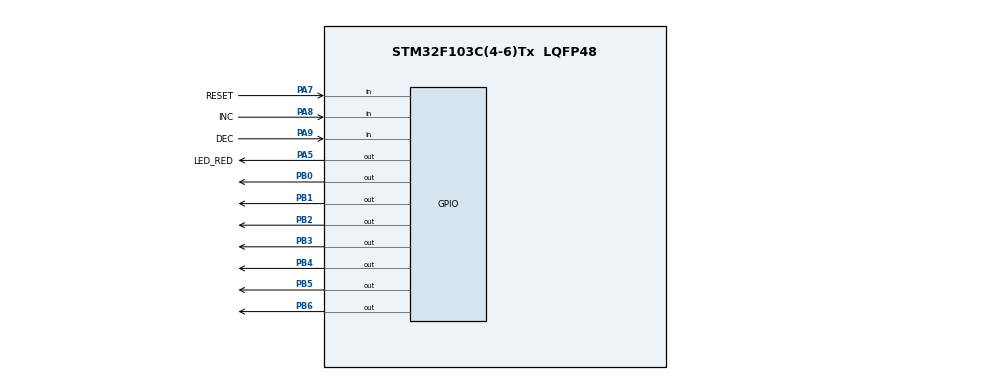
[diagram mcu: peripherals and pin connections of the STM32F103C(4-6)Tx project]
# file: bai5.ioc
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Mcu.Family=STM32F1
Mcu.Name=STM32F103C(4-6)Tx
Mcu.Package=LQFP48
NVIC.PriorityGroup=NVIC_PRIORITYGROUP_4
NVIC.TIM2_IRQn=true\:0\:0\:false\:false\:true\:true\:true\:true
PA5.GPIO_Label=LED_RED
PA5.Signal=GPIO_Output
PA7.GPIO_Label=RESET
PA7.GPIO_PuPd=GPIO_PULLUP
PA7.Signal=GPIO_Input
PA8.GPIO_Label=INC
PA8.GPIO_PuPd=GPIO_PULLUP
PA8.Signal=GPIO_Input
PA9.GPIO_Label=DEC
PA9.GPIO_PuPd=GPIO_PULLUP
PA9.Signal=GPIO_Input
PB0.Signal=GPIO_Output
PB1.Signal=GPIO_Output
PB2.Signal=GPIO_Output
PB3.Signal=GPIO_Output
PB4.Signal=GPIO_Output
PB5.Signal=GPIO_Output
PB6.Signal=GPIO_Output
ProjectManager.HeapSize=0x200
ProjectManager.StackSize=0x400
ProjectManager.TargetToolchain=STM32CubeIDE
RCC.APB1Freq_Value=8000000
RCC.APB2Freq_Value=8000000
TIM2.Period=9
TIM2.Prescaler=7999
VP_TIM2_VS_ClockSourceINT.Mode=Internal
board=custom

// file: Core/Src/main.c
/* USER CODE BEGIN Header */
/**
  ******************************************************************************
  * @file           : main.c
  * @brief          : Main program body
  ******************************************************************************
  * @attention
  *
  * Copyright (c) 2022 STMicroelectronics.
  * All rights reserved.
  *
  * This software is licensed under terms that can be found in the LICENSE file
  * in the root directory of this software component.
  * If no LICENSE file comes with this software, it is provided AS-IS.
  *
  ******************************************************************************
  */
/* USER CODE END Header */
#include "main.h"

/* USER CODE BEGIN Includes */
#include "seven_seg.h"
#include "software_timer.h"
#include "button.h"
#include "fsm_button.h"
/* USER CODE END Includes */

TIM_HandleTypeDef htim2;

void SystemClock_Config(void);
static void MX_GPIO_Init(void);
static void MX_TIM2_Init(void);

int main(void)
{

  /* MCU Configuration--------------------------------------------------------*/

  /* Reset of all peripherals, Initializes the Flash interface and the Systick. */
  HAL_Init();

  /* Configure the system clock */
  SystemClock_Config();

  /* Initialize all configured peripherals */
  MX_GPIO_Init();
  MX_TIM2_Init();
  /* USER CODE BEGIN 2 */
  HAL_TIM_Base_Start_IT(&htim2);
  /* USER CODE END 2 */

  /* Infinite loop */
  /* USER CODE BEGIN WHILE */
  set_timer1(100);
  while (1)
  {
//	  if (timer0_flag == 1) {
//		  HAL_GPIO_TogglePin(GPIOA, LED_RED_Pin);
//		  set_timer0(100);
//	  }
	  fsm_simple_buttons_run();
	  if (timer1_flag == 1) {
		  HAL_GPIO_TogglePin(LED_RED_GPIO_Port, LED_RED_Pin);
		  set_timer1(100);
	  }
    /* USER CODE END WHILE */

  }
}

void SystemClock_Config(void)
{
  RCC_OscInitTypeDef RCC_OscInitStruct = {0};
  RCC_ClkInitTypeDef RCC_ClkInitStruct = {0};

  /** Initializes the RCC Oscillators according to the specified parameters
  * in the RCC_OscInitTypeDef structure.
  */
  RCC_OscInitStruct.OscillatorType = RCC_OSCILLATORTYPE_HSI;
  RCC_OscInitStruct.HSIState = RCC_HSI_ON;
  RCC_OscInitStruct.HSICalibrationValue = RCC_HSICALIBRATION_DEFAULT;
  RCC_OscInitStruct.PLL.PLLState = RCC_PLL_NONE;
  if (HAL_RCC_OscConfig(&RCC_OscInitStruct) != HAL_OK)
  {
    Error_Handler();
  }

  /** Initializes the CPU, AHB and APB buses clocks
  */
  RCC_ClkInitStruct.ClockType = RCC_CLOCKTYPE_HCLK|RCC_CLOCKTYPE_SYSCLK
                              |RCC_CLOCKTYPE_PCLK1|RCC_CLOCKTYPE_PCLK2;
  RCC_ClkInitStruct.SYSCLKSource = RCC_SYSCLKSOURCE_HSI;
  RCC_ClkInitStruct.AHBCLKDivider = RCC_SYSCLK_DIV1;
  RCC_ClkInitStruct.APB1CLKDivider = RCC_HCLK_DIV1;
  RCC_ClkInitStruct.APB2CLKDivider = RCC_HCLK_DIV1;

  if (HAL_RCC_ClockConfig(&RCC_ClkInitStruct, FLASH_LATENCY_0) != HAL_OK)
  {
    Error_Handler();
  }
}

static void MX_TIM2_Init(void)
{

  TIM_ClockConfigTypeDef sClockSourceConfig = {0};
  TIM_MasterConfigTypeDef sMasterConfig = {0};

  htim2.Instance = TIM2;
  htim2.Init.Prescaler = 7999;
  htim2.Init.CounterMode = TIM_COUNTERMODE_UP;
  htim2.Init.Period = 9;
  htim2.Init.ClockDivision = TIM_CLOCKDIVISION_DIV1;
  htim2.Init.AutoReloadPreload = TIM_AUTORELOAD_PRELOAD_DISABLE;
  if (HAL_TIM_Base_Init(&htim2) != HAL_OK)
  {
    Error_Handler();
  }
  sClockSourceConfig.ClockSource = TIM_CLOCKSOURCE_INTERNAL;
  if (HAL_TIM_ConfigClockSource(&htim2, &sClockSourceConfig) != HAL_OK)
  {
    Error_Handler();
  }
  sMasterConfig.MasterOutputTrigger = TIM_TRGO_RESET;
  sMasterConfig.MasterSlaveMode = TIM_MASTERSLAVEMODE_DISABLE;
  if (HAL_TIMEx_MasterConfigSynchronization(&htim2, &sMasterConfig) != HAL_OK)
  {
    Error_Handler();
  }

}

static void MX_GPIO_Init(void)
{
  GPIO_InitTypeDef GPIO_InitStruct = {0};

  /* GPIO Ports Clock Enable */
  __HAL_RCC_GPIOA_CLK_ENABLE();
  __HAL_RCC_GPIOB_CLK_ENABLE();

  /*Configure GPIO pin Output Level */
  HAL_GPIO_WritePin(LED_RED_GPIO_Port, LED_RED_Pin, GPIO_PIN_RESET);

  /*Configure GPIO pin Output Level */
  HAL_GPIO_WritePin(GPIOB, GPIO_PIN_0|GPIO_PIN_1|GPIO_PIN_2|GPIO_PIN_3
                          |GPIO_PIN_4|GPIO_PIN_5|GPIO_PIN_6, GPIO_PIN_RESET);

  /*Configure GPIO pin : LED_RED_Pin */
  GPIO_InitStruct.Pin = LED_RED_Pin;
  GPIO_InitStruct.Mode = GPIO_MODE_OUTPUT_PP;
  GPIO_InitStruct.Pull = GPIO_NOPULL;
  GPIO_InitStruct.Speed = GPIO_SPEED_FREQ_LOW;
  HAL_GPIO_Init(LED_RED_GPIO_Port, &GPIO_InitStruct);

  /*Configure GPIO pins : RESET_Pin DEC_Pin INC_Pin */
  GPIO_InitStruct.Pin = RESET_Pin|DEC_Pin|INC_Pin;
  GPIO_InitStruct.Mode = GPIO_MODE_INPUT;
  GPIO_InitStruct.Pull = GPIO_PULLUP;
  HAL_GPIO_Init(GPIOA, &GPIO_InitStruct);

  /*Configure GPIO pins : PB0 PB1 PB2 PB3
                           PB4 PB5 PB6 */
  GPIO_InitStruct.Pin = GPIO_PIN_0|GPIO_PIN_1|GPIO_PIN_2|GPIO_PIN_3
                          |GPIO_PIN_4|GPIO_PIN_5|GPIO_PIN_6;
  GPIO_InitStruct.Mode = GPIO_MODE_OUTPUT_PP;
  GPIO_InitStruct.Pull = GPIO_NOPULL;
  GPIO_InitStruct.Speed = GPIO_SPEED_FREQ_LOW;
  HAL_GPIO_Init(GPIOB, &GPIO_InitStruct);

}

/* USER CODE BEGIN 4 */
void HAL_TIM_PeriodElapsedCallback (TIM_HandleTypeDef * htim) {
	timer_run();
	getKeyInputReset();
	getKeyInputInc();
	getKeyInputDec();
}
/* USER CODE END 4 */

void Error_Handler(void)
{
  __disable_irq();
  while (1)
  {
  }
}
